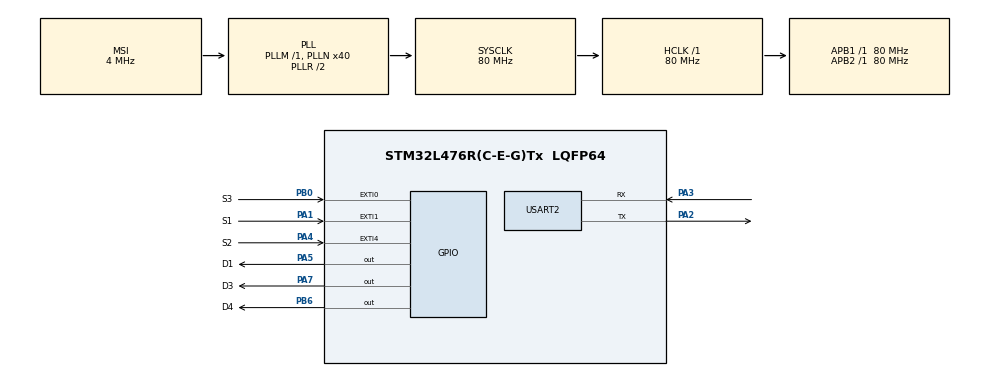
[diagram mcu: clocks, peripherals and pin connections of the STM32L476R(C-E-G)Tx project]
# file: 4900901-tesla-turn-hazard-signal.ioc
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Mcu.Family=STM32L4
Mcu.Name=STM32L476R(C-E-G)Tx
Mcu.Package=LQFP64
NVIC.EXTI0_IRQn=true\:0\:0\:false\:false\:true\:true\:true\:true
NVIC.EXTI1_IRQn=true\:0\:0\:false\:false\:true\:true\:true\:true
NVIC.EXTI4_IRQn=true\:0\:0\:false\:false\:true\:true\:true\:true
NVIC.PriorityGroup=NVIC_PRIORITYGROUP_4
NVIC.USART2_IRQn=true\:0\:0\:false\:false\:true\:true\:true\:true
PA1.GPIO_Label=S1
PA1.GPIO_ModeDefaultEXTI=GPIO_MODE_IT_FALLING
PA1.Signal=GPXTI1
PA2.Mode=Asynchronous
PA2.Signal=USART2_TX
PA3.Mode=Asynchronous
PA3.Signal=USART2_RX
PA4.GPIO_Label=S2
PA4.GPIO_ModeDefaultEXTI=GPIO_MODE_IT_FALLING
PA4.Signal=GPXTI4
PA5.GPIO_Label=D1
PA5.PinState=GPIO_PIN_SET
PA5.Signal=GPIO_Output
PA7.GPIO_Label=D3
PA7.PinState=GPIO_PIN_SET
PA7.Signal=GPIO_Output
PB0.GPIO_Label=S3
PB0.Signal=GPXTI0
PB6.GPIO_Label=D4
PB6.PinState=GPIO_PIN_SET
PB6.Signal=GPIO_Output
ProjectManager.HeapSize=0x200
ProjectManager.StackSize=0x400
ProjectManager.TargetToolchain=STM32CubeIDE
RCC.AHBFreq_Value=80000000
RCC.APB1Freq_Value=80000000
RCC.APB1TimFreq_Value=80000000
RCC.APB2Freq_Value=80000000
RCC.APB2TimFreq_Value=80000000
RCC.CortexFreq_Value=80000000
RCC.HCLKFreq_Value=80000000
RCC.HSE_VALUE=8000000
RCC.HSI_VALUE=16000000
RCC.LSE_VALUE=32768
RCC.MSI_VALUE=4000000
RCC.PLLN=40
RCC.SYSCLKFreq_VALUE=80000000
RCC.SYSCLKSource=RCC_SYSCLKSOURCE_PLLCLK
RCC.VCOOutputFreq_Value=160000000
USART2.VirtualMode-Asynchronous=VM_ASYNC
board=custom

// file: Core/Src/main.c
/* USER CODE BEGIN Header */
/**
  ******************************************************************************
  * @file           : main.c
  * @brief          : Main program body
  ******************************************************************************
  * @attention
  *
  * Copyright (c) 2024 STMicroelectronics.
  * All rights reserved.
  *
  * This software is licensed under terms that can be found in the LICENSE file
  * in the root directory of this software component.
  * If no LICENSE file comes with this software, it is provided AS-IS.
  *
  ******************************************************************************
  */
/* USER CODE END Header */
#include "main.h"

UART_HandleTypeDef huart2;

uint32_t left_toggles;
uint32_t right_toggles;
uint32_t left_last_press_tick;
uint32_t right_last_press_tick;
uint32_t stop_toggles;
uint32_t stop_last_press_tick;
uint32_t state ;
uint32_t state2;
uint32_t state3;
/*declaramos todas las funciones que vamos a necesitar en nuestro codigo, no las inicializamos en cero ya que no es necesario*/

void SystemClock_Config(void);
static void MX_GPIO_Init(void);
static void MX_USART2_UART_Init(void);

void heartbeat(void);

/* USER CODE BEGIN PFP */

void HAL_GPIO_EXTI_Callback(uint16_t GPIO_Pin)
{
	if (GPIO_Pin == S1_Pin && HAL_GetTick() > (left_last_press_tick + 200)) {
		if(right_toggles > 0){
			state = 1;
		}
		left_toggles = 0;
		right_toggles = 0;
		stop_toggles = 0;
		HAL_GPIO_WritePin(D3_GPIO_Port, D3_Pin, 1);
		HAL_GPIO_WritePin(D4_GPIO_Port, D4_Pin, 1);
		HAL_UART_Transmit(&huart2, "S1\r\n", 4, 10);
		if (HAL_GetTick() < (left_last_press_tick + 300)) {

			left_toggles = 0xFFFFFF;
		} else {
			left_toggles = 6;
		}
		left_last_press_tick = HAL_GetTick();

	} else if (GPIO_Pin == S2_Pin && HAL_GetTick() > (right_last_press_tick + 200)) {
		if(left_toggles > 0){
			state2 = 1;
		}
		right_toggles = 0;
		left_toggles = 0;
		stop_toggles = 0;
		HAL_GPIO_WritePin(D3_GPIO_Port, D3_Pin, 1);
		HAL_GPIO_WritePin(D4_GPIO_Port, D4_Pin, 1);
		HAL_UART_Transmit(&huart2, "S2\r\n", 4, 10);
		if (HAL_GetTick() < (right_last_press_tick + 300)) {
			right_toggles = 0xFFFFFF;
		} else {
			right_toggles = 6;
				}
		right_last_press_tick = HAL_GetTick();

	} else if (GPIO_Pin == S3_Pin && HAL_GetTick() > (stop_last_press_tick + 200)) {
		if(stop_toggles > 0){
			state3 = 1;
		}
		stop_toggles = 0;
		right_toggles = 0;
		left_toggles = 0;
		HAL_GPIO_WritePin(D3_GPIO_Port, D3_Pin, 1);
		HAL_GPIO_WritePin(D4_GPIO_Port, D4_Pin, 1);
		HAL_UART_Transmit(&huart2, "S3\r\n", 4, 10);
		stop_toggles = 0xFFFFFF;
		stop_last_press_tick = HAL_GetTick();
			}
}

/*Esta función maneja las interrupciones generadas por tres botones (S1, S2, S3) que,
dependiendo de ciertas condiciones temporales, actualizan el estado del sistema.
Además, controla variables de contar o rastrear los toggles de los botones, ajustando el
comportamiento según el tiempo entre pulsaciones. También enciende los LEDs (D3, D4)
y transmite mensajes por UART para indicar qué botón fue presionado.*/

void heartbeat(void)
{
	static uint32_t heartbeat_tick = 0;
	if (heartbeat_tick < HAL_GetTick()) {
		heartbeat_tick = HAL_GetTick() + 500;
		HAL_GPIO_TogglePin(D1_GPIO_Port, D1_Pin);
	}
}
//esta funcion nos permitira saber si nuestra aplicacion se esta ejecutando
void turn_signal_left(void)
{
	static uint32_t turn_toggle_tick = 0;
	if (turn_toggle_tick < HAL_GetTick()) {
		if (left_toggles > 0 && state != 1) {
			turn_toggle_tick = HAL_GetTick() + 500;
			HAL_GPIO_TogglePin(D3_GPIO_Port, D3_Pin);
			left_toggles--;
		} else if(stop_toggles <= 0) {
			HAL_GPIO_WritePin(D3_GPIO_Port, D3_Pin, 1);
			left_toggles = 0;
			state = 0;
	}
	}
}
/*La función turn_signal_left controla una señal de giro hacia la izquierda alternando el estado de un pin
 con intervalos de 500 ms, mientras la variable left_toggles sea mayor que 0 y
  el estado no sea 1. Cuando left_toggles llega a 0, la señal se detiene y el pin D3_Pin se
  mantiene encendido.*/

void turn_signal_right(void)
{
	static uint32_t turn_toggle_tick = 0;
	if (turn_toggle_tick < HAL_GetTick()){
		if (right_toggles > 0 && state2 != 1) {
			turn_toggle_tick = HAL_GetTick() + 500;
			HAL_GPIO_TogglePin(D4_GPIO_Port, D4_Pin);
			right_toggles--;
		} else if(stop_toggles <= 0){
			HAL_GPIO_WritePin(D4_GPIO_Port, D4_Pin, 1);
			right_toggles = 0;
			state2 = 0;
	}
	}
}
/*La función turn_signal_right controla una señal de giro hacia la derecha alternando el estado de un pin
 con intervalos de 500 ms, mientras la variable right_toggles sea mayor que 0 y
  el estado no sea 1. Cuando right_toggles llega a 0, la señal se detiene y el pin D4_Pin se
  mantiene encendido.*/
void stationary(void)
{
	static uint32_t turn_toggle_tick = 0;
	if (turn_toggle_tick < HAL_GetTick()){
		if (stop_toggles > 0 && state3 != 1) {
			turn_toggle_tick = HAL_GetTick() + 500;
			HAL_GPIO_TogglePin(D3_GPIO_Port, D3_Pin);
			HAL_GPIO_TogglePin(D4_GPIO_Port, D4_Pin);
			stop_toggles--;
		}  else if (right_toggles <= 0 && left_toggles <= 0){
			HAL_GPIO_WritePin(D3_GPIO_Port, D3_Pin, 1);
			HAL_GPIO_WritePin(D4_GPIO_Port, D4_Pin, 1);
			stop_toggles = 0;
			state3 = 0;
		}
	}
}
/*La función stationary controla un estado de parada o advertencia en el que los pines D3_Pin y D4_Pin
 parpadean alternativamente con intervalos de 500 ms, mientras la variable stop_toggles sea mayor que
 0 y el estado state3 no sea 1. Cuando se agotan las alternancias de stop_toggles, las luces (D3_Pin y D4_Pin)
 se quedan encendidas de manera constante, lo que simboliza una señal fija de parada. El temporizador
 turn_toggle_tick asegura que las acciones de parpadeo no se repitan demasiado rápido, manteniendo un ritmo estable.*/

/* USER CODE END PFP */

int main(void)
{

  /* MCU Configuration--------------------------------------------------------*/

  /* Reset of all peripherals, Initializes the Flash interface and the Systick. */
  HAL_Init();

  /* Configure the system clock */
  SystemClock_Config();

  /* Initialize all configured peripherals */
  MX_GPIO_Init();
  MX_USART2_UART_Init();

  /* Infinite loop */
  while (1)
  {
	      heartbeat();
		  turn_signal_left();
		  turn_signal_right();
		  stationary();
    /* USER CODE BEGIN 3 */
  }
  /* Aqui es donde se va a realizar un bucle de cada una de las acciones que vamos a requerir una
   vez que haya cierta interrupcion*/
  /* USER CODE END 3 */
}

void SystemClock_Config(void)
{
  RCC_OscInitTypeDef RCC_OscInitStruct = {0};
  RCC_ClkInitTypeDef RCC_ClkInitStruct = {0};

  /** Configure the main internal regulator output voltage
  */
  if (HAL_PWREx_ControlVoltageScaling(PWR_REGULATOR_VOLTAGE_SCALE1) != HAL_OK)
  {
    Error_Handler();
  }

  /** Initializes the RCC Oscillators according to the specified parameters
  * in the RCC_OscInitTypeDef structure.
  */
  RCC_OscInitStruct.OscillatorType = RCC_OSCILLATORTYPE_MSI;
  RCC_OscInitStruct.MSIState = RCC_MSI_ON;
  RCC_OscInitStruct.MSICalibrationValue = 0;
  RCC_OscInitStruct.MSIClockRange = RCC_MSIRANGE_6;
  RCC_OscInitStruct.PLL.PLLState = RCC_PLL_ON;
  RCC_OscInitStruct.PLL.PLLSource = RCC_PLLSOURCE_MSI;
  RCC_OscInitStruct.PLL.PLLM = 1;
  RCC_OscInitStruct.PLL.PLLN = 40;
  RCC_OscInitStruct.PLL.PLLP = RCC_PLLP_DIV7;
  RCC_OscInitStruct.PLL.PLLQ = RCC_PLLQ_DIV2;
  RCC_OscInitStruct.PLL.PLLR = RCC_PLLR_DIV2;
  if (HAL_RCC_OscConfig(&RCC_OscInitStruct) != HAL_OK)
  {
    Error_Handler();
  }

  /** Initializes the CPU, AHB and APB buses clocks
  */
  RCC_ClkInitStruct.ClockType = RCC_CLOCKTYPE_HCLK|RCC_CLOCKTYPE_SYSCLK
                              |RCC_CLOCKTYPE_PCLK1|RCC_CLOCKTYPE_PCLK2;
  RCC_ClkInitStruct.SYSCLKSource = RCC_SYSCLKSOURCE_PLLCLK;
  RCC_ClkInitStruct.AHBCLKDivider = RCC_SYSCLK_DIV1;
  RCC_ClkInitStruct.APB1CLKDivider = RCC_HCLK_DIV1;
  RCC_ClkInitStruct.APB2CLKDivider = RCC_HCLK_DIV1;

  if (HAL_RCC_ClockConfig(&RCC_ClkInitStruct, FLASH_LATENCY_4) != HAL_OK)
  {
    Error_Handler();
  }
}

static void MX_USART2_UART_Init(void)
{

  huart2.Instance = USART2;
  huart2.Init.BaudRate = 115200;
  huart2.Init.WordLength = UART_WORDLENGTH_8B;
  huart2.Init.StopBits = UART_STOPBITS_1;
  huart2.Init.Parity = UART_PARITY_NONE;
  huart2.Init.Mode = UART_MODE_TX_RX;
  huart2.Init.HwFlowCtl = UART_HWCONTROL_NONE;
  huart2.Init.OverSampling = UART_OVERSAMPLING_16;
  huart2.Init.OneBitSampling = UART_ONE_BIT_SAMPLE_DISABLE;
  huart2.AdvancedInit.AdvFeatureInit = UART_ADVFEATURE_NO_INIT;
  if (HAL_UART_Init(&huart2) != HAL_OK)
  {
    Error_Handler();
  }

}

static void MX_GPIO_Init(void)
{
  GPIO_InitTypeDef GPIO_InitStruct = {0};

  /* GPIO Ports Clock Enable */
  __HAL_RCC_GPIOA_CLK_ENABLE();
  __HAL_RCC_GPIOB_CLK_ENABLE();

  /*Configure GPIO pin Output Level */
  HAL_GPIO_WritePin(GPIOA, D1_Pin|D3_Pin, GPIO_PIN_SET);

  /*Configure GPIO pin Output Level */
  HAL_GPIO_WritePin(D4_GPIO_Port, D4_Pin, GPIO_PIN_SET);

  /*Configure GPIO pins : S1_Pin S2_Pin */
  GPIO_InitStruct.Pin = S1_Pin|S2_Pin;
  GPIO_InitStruct.Mode = GPIO_MODE_IT_FALLING;
  GPIO_InitStruct.Pull = GPIO_NOPULL;
  HAL_GPIO_Init(GPIOA, &GPIO_InitStruct);

  /*Configure GPIO pins : D1_Pin D3_Pin */
  GPIO_InitStruct.Pin = D1_Pin|D3_Pin;
  GPIO_InitStruct.Mode = GPIO_MODE_OUTPUT_PP;
  GPIO_InitStruct.Pull = GPIO_NOPULL;
  GPIO_InitStruct.Speed = GPIO_SPEED_FREQ_LOW;
  HAL_GPIO_Init(GPIOA, &GPIO_InitStruct);

  /*Configure GPIO pin : S3_Pin */
  GPIO_InitStruct.Pin = S3_Pin;
  GPIO_InitStruct.Mode = GPIO_MODE_IT_RISING;
  GPIO_InitStruct.Pull = GPIO_NOPULL;
  HAL_GPIO_Init(S3_GPIO_Port, &GPIO_InitStruct);

  /*Configure GPIO pin : D4_Pin */
  GPIO_InitStruct.Pin = D4_Pin;
  GPIO_InitStruct.Mode = GPIO_MODE_OUTPUT_PP;
  GPIO_InitStruct.Pull = GPIO_NOPULL;
  GPIO_InitStruct.Speed = GPIO_SPEED_FREQ_LOW;
  HAL_GPIO_Init(D4_GPIO_Port, &GPIO_InitStruct);

  /* EXTI interrupt init*/
  HAL_NVIC_SetPriority(EXTI0_IRQn, 0, 0);
  HAL_NVIC_EnableIRQ(EXTI0_IRQn);

  HAL_NVIC_SetPriority(EXTI1_IRQn, 0, 0);
  HAL_NVIC_EnableIRQ(EXTI1_IRQn);

  HAL_NVIC_SetPriority(EXTI4_IRQn, 0, 0);
  HAL_NVIC_EnableIRQ(EXTI4_IRQn);

}

void Error_Handler(void)
{
  __disable_irq();
  while (1)
  {
  }
}
